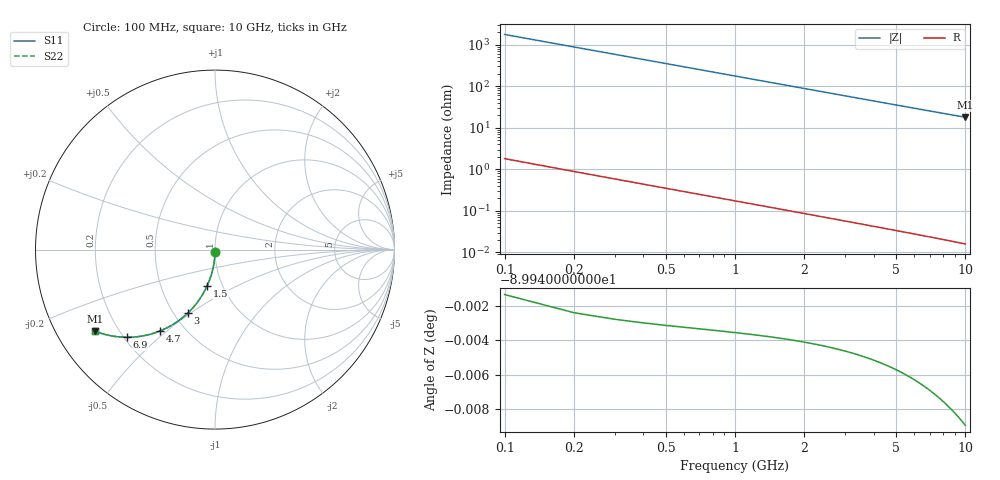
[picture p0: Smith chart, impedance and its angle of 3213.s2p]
# Hz S RI R 50.00
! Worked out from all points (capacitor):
!   100 points, 100 MHz to 10 GHz, reference 50 ohm
!   read as one part in shunt: C = 901 fF near 100 MHz
!   lowest |Z| = 17.9 ohm at 10 GHz (marker M1)
!   S11 on the Smith chart (normalised r, x): 100 MHz: 1.00, -0.03; 1.5 GHz: 0.85, -0.36; 3 GHz: 0.58, -0.49; 4.7 GHz: 0.37, -0.47; 6.9 GHz: 0.21, -0.40; 10 GHz: 0.12, -0.30
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1e8  -0.00014 -0.014  0.9997 -0.0143  0.9997 -0.0143  -0.00014 -0.014
2e8  -0.000753 -0.028  0.9991 -0.0286  0.9991 -0.0286  -0.000753 -0.028
3e8  -0.00176 -0.0419  0.9981 -0.0428  0.9981 -0.0428  -0.00176 -0.0419
4e8  -0.00317 -0.0558  0.9967 -0.057  0.9967 -0.057  -0.00317 -0.0558
5e8  -0.00497 -0.0696  0.9949 -0.0712  0.9949 -0.0712  -0.00497 -0.0696
6e8  -0.00716 -0.0833  0.9927 -0.0852  0.9927 -0.0852  -0.00716 -0.0833
7e8  -0.00973 -0.097  0.9901 -0.0991  0.9901 -0.0991  -0.00973 -0.097
9e8  -0.016 -0.1239  0.9838 -0.1267  0.9838 -0.1267  -0.016 -0.1239
1.2e9  -0.0281 -0.1631  0.9717 -0.1668  0.9717 -0.1668  -0.0281 -0.1631
1.5e9  -0.0432 -0.2007  0.9566 -0.2053  0.9566 -0.2053  -0.0432 -0.2007
1.8e9  -0.0611 -0.2363  0.9388 -0.2419  0.9388 -0.2419  -0.0611 -0.2363
2.4e9  -0.1036 -0.3006  0.8962 -0.3081  0.8962 -0.3081  -0.1036 -0.3006
3e9  -0.153 -0.3549  0.8468 -0.3642  0.8468 -0.3642  -0.153 -0.3549
3.4e9  -0.1883 -0.3852  0.8115 -0.3958  0.8115 -0.3958  -0.1883 -0.3852
4e9  -0.2431 -0.4223  0.7567 -0.4347  0.7567 -0.4347  -0.2431 -0.4223
4.7e9  -0.3073 -0.4536  0.6925 -0.4682  0.6925 -0.4682  -0.3073 -0.4536
5.1e9  -0.3432 -0.4664  0.6566 -0.4823  0.6566 -0.4823  -0.3432 -0.4664
5.9e9  -0.4117 -0.4824  0.588 -0.5009  0.588 -0.5009  -0.4117 -0.4824
6.7e9  -0.4746 -0.4884  0.525 -0.5093  0.525 -0.5093  -0.4746 -0.4884
6.9e9  -0.4894 -0.4886  0.5102 -0.5102  0.5102 -0.5102  -0.4894 -0.4886
8.4e9  -0.5874 -0.4785  0.4121 -0.505  0.4121 -0.505  -0.5874 -0.4785
1e10  -0.6693 -0.454  0.33 -0.4856  0.33 -0.4856  -0.6693 -0.454
